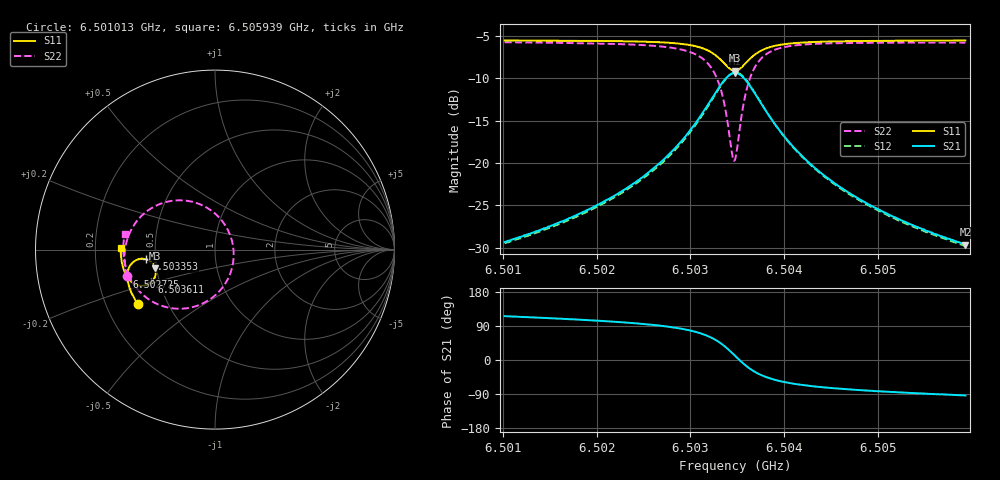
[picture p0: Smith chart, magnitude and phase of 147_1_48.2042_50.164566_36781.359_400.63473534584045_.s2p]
#  HZ  S  RI  R  50.00
! Rohde & Schwarz Vector Network Analyzer
! Rohde-Schwarz,ZNB20-2Port,1311601062101988,3.16
! Created: UTC 3/20/2024, 11:42:39 AM
! freq[Hz]  re:S11  im:S11  re:S21  im:S21  re:S12  im:S12  re:S22  im:S22
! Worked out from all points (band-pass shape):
!   401 points, 6.501013 GHz to 6.505939 GHz, reference 50 ohm
!   highest |S21| = -9.40 dB at 6.503476 GHz (marker M1); lowest = -29.6 dB at 6.505939 GHz (marker M2)
!   |S21| within 3 dB of the highest: 6.503229 GHz to 6.503722 GHz (492.7 kHz wide, 0.00758 % of centre)
!   lowest |S11| = -9.1 dB at 6.503476 GHz (marker M3), VSWR 2.07, Z = 24.6 - j5.83 ohm
!   |S11| at or under -10 dB: nowhere
!   |S22| runs from -19.7 to -5.8 dB; largest |S21 - S12| = 0.012
!   S11 on the Smith chart (normalised r, x): 6.501013 GHz: 0.34, -0.29; 6.502725 GHz: 0.33, -0.14; 6.503353 GHz: 0.44, -0.06; 6.503611 GHz: 0.45, -0.19; 6.505939 GHz: 0.31, +0.01
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6.5010131e9  -0.4291 -0.3051  -0.0149 0.0308  -0.0132 0.0309  -0.492 -0.1476
6.5018382e9  -0.4642 -0.2436  -0.0141 0.0489  -0.0117 0.0485  -0.5041 -0.0587
6.5022692e9  -0.4791 -0.2051  -0.0114 0.0674  -0.00826 0.0662  -0.5007 0.00318
6.5026632e9  -0.4883 -0.161  -0.00155 0.0989  0.00207 0.0965  -0.4796 0.0832
6.5027248e9  -0.4888 -0.1528  0.00162 0.1063  0.00541 0.1034  -0.4725 0.0992
6.5029464e9  -0.4853 -0.1176  0.0235 0.1414  0.0274 0.137  -0.4262 0.1701
6.5031065e9  -0.4707 -0.0855  0.0631 0.1778  0.066 0.1717  -0.3495 0.2338
6.5032543e9  -0.433 -0.0559  0.1448 0.2064  0.1456 0.2  -0.2001 0.2748
6.5033528e9  -0.3865 -0.053  0.2364 0.1897  0.2366 0.1848  -0.0415 0.2314
6.503439e9  -0.3437 -0.0821  0.3146 0.1148  0.3171 0.1103  0.0833 0.0838
6.5034636e9  -0.3357 -0.0963  0.328 0.0829  0.3311 0.0777  0.1002 0.0235
6.5034759e9  -0.3329 -0.1043  0.3323 0.066  0.3357 0.0603  0.1038 -0.00802
6.5035006e9  -0.33 -0.1205  0.3356 0.0314  0.3394 0.0243  0.1011 -0.0715
6.5035375e9  -0.3322 -0.1445  0.3282 -0.0188  0.3314 -0.0278  0.0736 -0.1605
6.5036114e9  -0.3545 -0.1813  0.2814 -0.0951  0.2811 -0.1065  -0.037 -0.2829
6.5037099e9  -0.3952 -0.2007  0.2034 -0.1383  0.1981 -0.1483  -0.1964 -0.3295
6.50387e9  -0.4444 -0.1931  0.1152 -0.1377  0.1081 -0.1431  -0.3564 -0.2851
6.5040424e9  -0.4734 -0.1719  0.0674 -0.1168  0.061 -0.1191  -0.4344 -0.218
6.504301e9  -0.4959 -0.1405  0.0345 -0.0902  0.0297 -0.0908  -0.4818 -0.14
6.504695e9  -0.5123 -0.0991  0.0144 -0.0651  0.011 -0.0647  -0.5053 -0.0603
6.505126e9  -0.5209 -0.0589  0.00513 -0.0492  0.00278 -0.0484  -0.5108 0.00162
6.5059387e9  -0.526 0.0102  -0.00212 -0.033  -0.00339 -0.0322  -0.503 0.0891
